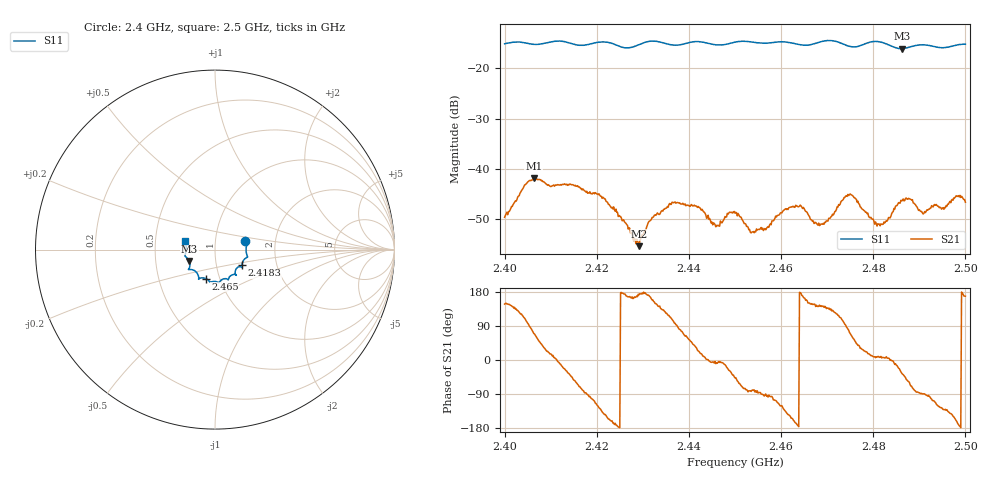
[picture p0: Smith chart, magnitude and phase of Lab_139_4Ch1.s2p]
# Hz S RI R 50
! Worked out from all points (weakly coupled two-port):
!   601 points, 2.4 GHz to 2.5 GHz, reference 50 ohm
!   highest |S21| = -41.87 dB at 2.4063 GHz (marker M1); lowest = -55.4 dB at 2.4292 GHz (marker M2)
!   lowest |S11| = -16.1 dB at 2.4862 GHz (marker M3), VSWR 1.37, Z = 37.2 - j4.81 ohm
!   |S11| at or under -10 dB: start of sweep to end of sweep
!   S12 and S22 are empty: the file has one direction only
!   S11 on the Smith chart (normalised r, x): 2.4 GHz: 1.40, +0.13; 2.4183 GHz: 1.33, -0.24; 2.465 GHz: 0.86, -0.28; 2.5 GHz: 0.71, +0.07
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2.4e9  0.1687 0.0462  -0.00278 0.00177  0 0  0 0
2.406333e9  0.1728 0.00495  0.00277 0.00757  0 0  0 0
2.416667e9  0.1546 -0.0678  0.00158 -0.00618  0 0  0 0
2.418333e9  0.1499 -0.0869  -0.000667 -0.00571  0 0  0 0
2.421833e9  0.1527 -0.0998  -0.00405 -0.00297  0 0  0 0
2.429167e9  0.1122 -0.1301  -0.00169 0.000235  0 0  0 0
2.433333e9  0.1178 -0.1412  -0.00279 0.00222  0 0  0 0
2.436833e9  0.092 -0.1426  -0.00061 0.00459  0 0  0 0
2.441e9  0.0749 -0.1674  0.00326 0.00278  0 0  0 0
2.446167e9  0.0523 -0.1624  0.00269 -0.00041  0 0  0 0
2.45e9  0.0255 -0.1801  0.00247 -0.00265  0 0  0 0
2.453833e9  0.0155 -0.1813  0.000454 -0.00232  0 0  0 0
2.461333e9  -0.0304 -0.1791  -0.00313 -0.0025  0 0  0 0
2.465e9  -0.0523 -0.1612  -0.00388 0.00114  0 0  0 0
2.466667e9  -0.0711 -0.1572  -0.00265 0.00161  0 0  0 0
2.469667e9  -0.091 -0.164  -0.00224 0.00192  0 0  0 0
2.475e9  -0.1007 -0.1301  0.00196 0.00527  0 0  0 0
2.480667e9  -0.148 -0.1108  0.00281 0.000416  0 0  0 0
2.483333e9  -0.1411 -0.0965  0.00327 0.000283  0 0  0 0
2.486167e9  -0.1433 -0.0631  0.00398 -0.00273  0 0  0 0
2.490833e9  -0.1674 -0.0346  2.82e-05 -0.00356  0 0  0 0
2.5e9  -0.1668 0.047  -0.00456 0.000941  0 0  0 0
